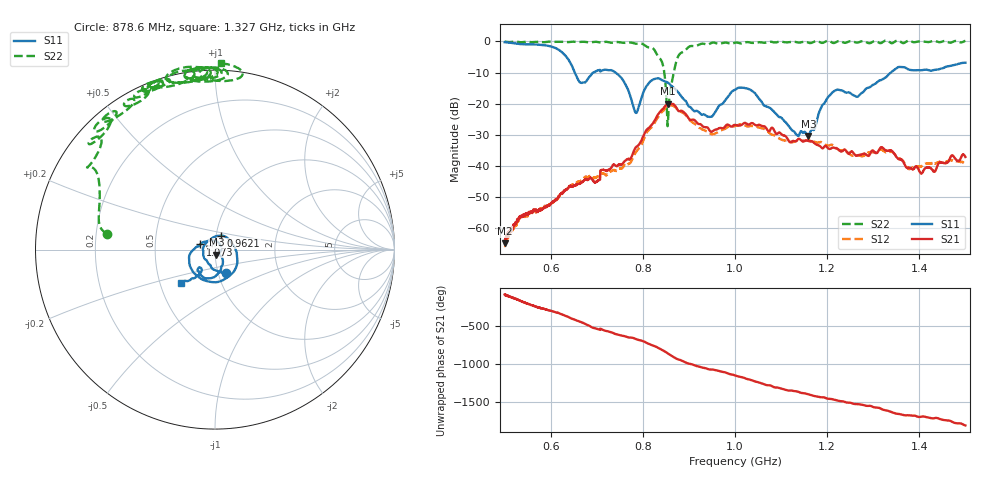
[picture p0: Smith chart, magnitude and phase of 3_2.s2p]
!Agilent Technologies,E8364B,US42250235,A.06.04.32
!Agilent E8364B: A.06.04.32
!Date: Thursday, October 01, 2020 15:58:39
!Correction: S11(Full 2 Port(1,2)) S21(Full 2 Port(1,2)) S12(Full 2 Port(1,2)) S22(Full 2 Port(1,2))
!S2P File: Measurements: S11, S21, S12, S22:
# Hz S  dB  R 50
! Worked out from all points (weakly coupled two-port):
!   2650 points, 500 MHz to 1.5 GHz, reference 50 ohm
!   highest |S21| = -20.01 dB at 854.9 MHz (marker M1); lowest = -64.9 dB at 500 MHz (marker M2)
!   lowest |S11| = -30.4 dB at 1.159 GHz (marker M3), VSWR 1.06, Z = 50.7 - j2.96 ohm
!   |S11| at or under -10 dB: 652.2 MHz to 692.3 MHz (40.06 MHz wide, 5.96 % of centre); 740.7 MHz to 1.338 GHz (597.4 MHz wide, 57.5 % of centre)
!   |S22| runs from -27.2 to 0.3 dB; largest |S21 - S12| = 0.017
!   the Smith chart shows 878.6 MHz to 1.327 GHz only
!   S11 on the Smith chart (normalised r, x): 878.6 MHz: 1.09, -0.30; 962.1 MHz: 1.06, +0.17; 1.073 GHz: 0.85, +0.05; 1.327 GHz: 0.64, -0.25
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5e8  -0.23 -175.7  -64.85 -93.7  -64.52 -95.7  -0.03 142.3
6.049453e8  -1.79 113.3  -51.51 43.7  -51.59 48.2  -0.13 129.7
6.385428e8  -5.78 74.2  -46.88 -27.7  -46.97 -21.2  -0.20 127.3
6.668554e8  -13.30 85.9  -45.24 -97.3  -44.58 -91.5  -0.12 123.4
7.351831e8  -9.47 50.3  -39.65 124.2  -41.35 114.0  -0.37 109.5
7.853907e8  -22.97 -128.7  -33.94 41.5  -35.44 34.3  -0.72 101.3
8.337108e8  -11.87 39.6  -23.28 -74.1  -24.18 -83.2  -4.94 56.7
8.439034e8  -12.58 15.6  -21.61 -107.6  -22.35 -116.2  -7.80 42.2
8.548509e8  -13.27 -9.9  -20.01 -148.9  -20.54 -157.3  -24.95 -80.9
8.786334e8  -16.64 -64.2  -22.42 133.4  -22.50 121.8  -4.28 171.6
9.209136e8  -22.68 -150.0  -26.53 43.1  -27.63 29.5  -1.06 135.8
9.620612e8  -21.44 66.4  -28.14 -11.0  -29.21 -20.3  -0.70 133.9
1.000189e9  -15.50 -63.4  -26.79 -75.3  -27.21 -86.6  -0.37 118.7
1.073046e9  -21.14 160.9  -28.92 155.7  -29.22 134.3  -0.13 108.0
1.159494e9  -30.38 -74.1  -31.96 37.0  -31.61 20.2  -0.38 109.2
1.166667e9  -28.32 -62.3  -32.06 25.4  -31.88 6.4  -0.42 99.3
1.214609e9  -15.99 -96.0  -34.13 -32.2  -33.47 -63.3  -0.50 97.5
1.327482e9  -11.51 -136.3  -35.09 -173.8  -35.66 157.6  0.32 88.2
1.333522e9  -10.55 -137.8  -35.09 178.8  -35.67 150.2  0.03 96.7
1.346357e9  -9.03 -148.5  -36.21 148.9  -36.18 122.7  -0.10 78.6
1.404115e9  -9.24 172.5  -42.39 103.1  -40.16 81.9  0.01 80.0
1.5e9  -6.82 141.3  -37.11 -11.4  -39.31 -33.0  0.22 71.5
